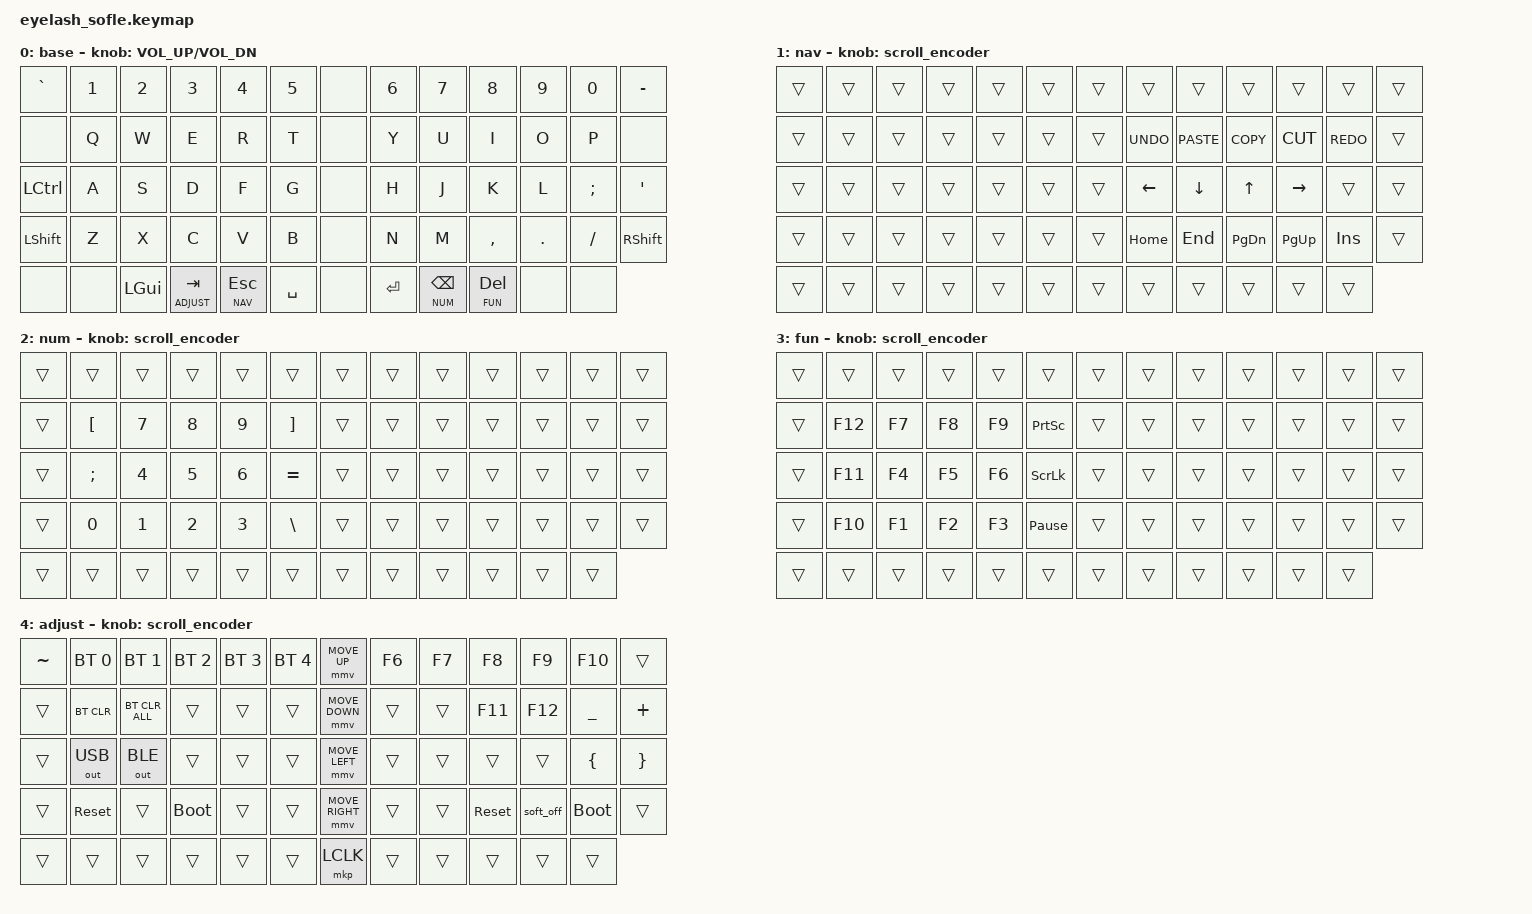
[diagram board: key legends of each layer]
#define ZMK_POINTING_DEFAULT_MOVE_VAL 1200  // 600
#define ZMK_POINTING_DEFAULT_SCRL_VAL 25   // 10

#include <input/processors.dtsi>
#include <zephyr/dt-bindings/input/input-event-codes.h>
#include <behaviors.dtsi>
#include <dt-bindings/zmk/bt.h>
#include <dt-bindings/zmk/keys.h>
#include <dt-bindings/zmk/outputs.h>
#include <dt-bindings/zmk/pointing.h>
#include <dt-bindings/zmk/rgb.h>

#define BASE 0
#define NAV 1
#define NUM 2
#define FUN 3
#define ADJUST 4

&mmv_input_listener { input-processors = <&zip_xy_scaler 2 1>; };

&msc_input_listener { input-processors = <&zip_scroll_scaler 2 1>; };

&msc {
    acceleration-exponent = <1>;      // 0
    time-to-max-speed-ms = <100>;       // 300
    delay-ms = <0>;                   // 0
};

&mmv {
    time-to-max-speed-ms = <500>;
    acceleration-exponent = <1>;
    trigger-period-ms = <16>;
};

&soft_off { hold-time-ms = <2000>; };

/ {
    scroll_encoder: scroll_encoder {
        compatible = "zmk,behavior-sensor-rotate";
        #sensor-binding-cells = <0>;
        bindings = <&msc SCRL_DOWN>, <&msc SCRL_UP>;

        tap-ms = <100>;
    };

    behaviors {
    };

    combos {
        compatible = "zmk,combos";

        softoff {
            bindings = <&soft_off>;
            key-positions = <14 28 40>;
        };
    };

    keymap {
        compatible = "zmk,keymap";

        base_layer {
            display-name = "base";
            bindings = <
&kp GRAVE   &kp N1  &kp N2      &kp N3          &kp N4          &kp N5      &none       &kp N6          &kp N7          &kp N8      &kp N9      &kp N0      &kp MINUS
&none       &kp Q   &kp W       &kp E           &kp R           &kp T       &none       &kp Y           &kp U           &kp I       &kp O       &kp P       &none
&kp LCTRL   &kp A   &kp S       &kp D           &kp F           &kp G       &none       &kp H           &kp J           &kp K       &kp L       &kp SEMI    &kp SQT
&kp LSHFT   &kp Z   &kp X       &kp C           &kp V           &kp B       &none       &kp N           &kp M           &kp COMMA   &kp DOT     &kp FSLH    &kp RSHFT
&none       &none   &kp LGUI    &lt ADJUST TAB  &lt NAV ESC     &kp SPACE   &none       &kp RET         &lt NUM BSPC    &lt FUN DEL &none       &none
            >;

            sensor-bindings = <&inc_dec_kp C_VOLUME_UP C_VOL_DN>;
        };

        nav_layer {
            display-name = "nav";
            bindings = <
&trans &trans &trans &trans &trans &trans   &trans  &trans     &trans      &trans     &trans    &trans     &trans
&trans &trans &trans &trans &trans &trans   &trans  &kp K_UNDO &kp K_PASTE &kp K_COPY &kp K_CUT &kp K_REDO &trans
&trans &trans &trans &trans &trans &trans   &trans  &kp LEFT   &kp DOWN    &kp UP     &kp RIGHT &trans     &trans
&trans &trans &trans &trans &trans &trans   &trans  &kp HOME   &kp END     &kp PG_DN  &kp PG_UP &kp INS    &trans
&trans &trans &trans &trans &trans &trans   &trans  &trans     &trans      &trans     &trans    &trans
            >;

            sensor-bindings = <&scroll_encoder>;
        };

        num_layer {
            display-name = "num";
            bindings = <
&trans  &trans    &trans  &trans    &trans    &trans    &trans    &trans &trans &trans &trans &trans &trans
&trans  &kp LBKT  &kp N7  &kp N8    &kp N9    &kp RBKT  &trans    &trans &trans &trans &trans &trans &trans
&trans  &kp SEMI  &kp N4  &kp N5    &kp N6    &kp EQUAL &trans    &trans &trans &trans &trans &trans &trans
&trans  &kp N0    &kp N1  &kp N2    &kp N3    &kp BSLH  &trans    &trans &trans &trans &trans &trans &trans
&trans  &trans    &trans  &trans    &trans    &trans    &trans    &trans &trans &trans &trans &trans
            >;

            sensor-bindings = <&scroll_encoder>;
        };

        fun_layer {
            display-name = "fun";
            bindings = <
&trans  &trans  &trans    &trans    &trans    &trans            &trans &trans    &trans    &trans    &trans    &trans    &trans
&trans  &kp F12  &kp F7   &kp F8    &kp F9    &kp PSCRN         &trans &trans    &trans    &trans    &trans    &trans    &trans
&trans  &kp F11  &kp F4   &kp F5    &kp F6    &kp SLCK          &trans &trans    &trans    &trans    &trans    &trans    &trans
&trans  &kp F10  &kp F1   &kp F2    &kp F3    &kp PAUSE_BREAK   &trans &trans    &trans    &trans    &trans    &trans    &trans
&trans  &trans   &trans   &trans    &trans    &trans            &trans &trans    &trans    &trans    &trans    &trans
            >;

            sensor-bindings = <&scroll_encoder>;
        };

        adjust_layer {
            display-name = "adjust";
            bindings = <
&kp TILDE  &bt BT_SEL 0  &bt BT_SEL 1    &bt BT_SEL 2  &bt BT_SEL 3  &bt BT_SEL 4    &mmv MOVE_UP     &kp F6  &kp F7  &kp F8      &kp F9     &kp F10      &trans
&trans     &bt BT_CLR    &bt BT_CLR_ALL  &trans        &trans        &trans          &mmv MOVE_DOWN   &trans  &trans  &kp F11     &kp F12    &kp UNDER    &kp PLUS
&trans     &out OUT_USB  &out OUT_BLE    &trans        &trans        &trans          &mmv MOVE_LEFT   &trans  &trans  &trans      &trans     &kp LBRC     &kp RBRC
&trans     &sys_reset    &trans          &bootloader   &trans        &trans          &mmv MOVE_RIGHT  &trans  &trans  &sys_reset  &soft_off  &bootloader  &trans
&trans     &trans        &trans          &trans        &trans        &trans          &mkp LCLK        &trans  &trans  &trans      &trans     &trans
            >;

            sensor-bindings = <&scroll_encoder>;
        };
    };
};
